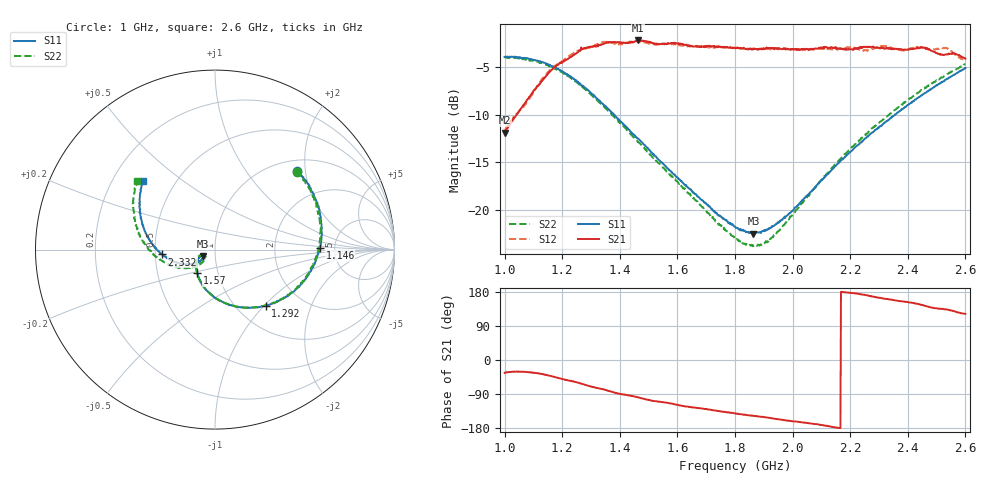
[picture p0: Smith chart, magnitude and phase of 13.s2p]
!EI41,AV3629A,1.0.34
!Calibration ON (Full Solt 2-Port(Omit Isolation))
!Measurements: S11 S21 S12 S22
!Friday, August 03, 2012  13 : 41
#Hz  S  MA  R 50.000
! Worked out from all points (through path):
!   801 points, 1 GHz to 2.6 GHz, reference 50 ohm
!   highest |S21| = -2.23 dB at 1.464 GHz (marker M1); lowest = -11.9 dB at 1 GHz (marker M2)
!   lowest |S11| = -22.5 dB at 1.864 GHz (marker M3), VSWR 1.16, Z = 43.7 - j3.06 ohm
!   |S11| at or under -10 dB: 1.379 GHz to 2.356 GHz (976.6 MHz wide, 52.3 % of centre)
!   |S22| runs from -23.8 to -4.0 dB; largest |S21 - S12| = 0.062
!   S11 on the Smith chart (normalised r, x): 1 GHz: 1.22, +1.80; 1.146 GHz: 3.81, +0.11; 1.292 GHz: 1.34, -1.02; 1.57 GHz: 0.80, -0.21; 2.332 GHz: 0.54, -0.03; 2.6 GHz: 0.33, +0.36
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1e9  0.6343 43.9  0.2543 -34.0  0.2618 -32.4  0.6287 43.7
1.078e9  0.6246 22.1  0.3772 -32.0  0.37 -31.4  0.6203 22.0
1.146e9  0.5841 0.9  0.506 -40.0  0.5163 -38.9  0.5745 0.5
1.208e9  0.5234 -19.8  0.6031 -51.5  0.6164 -51.4  0.5214 -21.2
1.268e9  0.4488 -39.9  0.6956 -62.8  0.6945 -63.9  0.4448 -41.5
1.292e9  0.4214 -48.0  0.7135 -68.4  0.7087 -68.3  0.4135 -49.5
1.352e9  0.3476 -67.1  0.7502 -79.0  0.7622 -81.4  0.339 -69.1
1.464e9  0.2357 -100.1  0.7736 -98.7  0.766 -99.6  0.2268 -103.1
1.534e9  0.1834 -118.5  0.7399 -109.9  0.7362 -109.1  0.1761 -122.1
1.57e9  0.1622 -127.4  0.7445 -113.7  0.7451 -114.2  0.1547 -131.3
1.624e9  0.1359 -139.0  0.7357 -121.8  0.7284 -121.2  0.1289 -143.0
1.8e9  0.08153 -156.6  0.7044 -140.6  0.708 -140.8  0.07166 -158.3
1.864e9  0.07521 -152.4  0.698 -147.7  0.6972 -147.1  0.06467 -151.1
1.93e9  0.08168 -145.6  0.704 -154.3  0.6939 -153.8  0.072 -140.4
2.068e9  0.1264 -144.2  0.6956 -168.1  0.6941 -167.8  0.1262 -136.9
2.194e9  0.1973 -156.4  0.6927 177.8  0.7107 178.3  0.2051 -149.8
2.256e9  0.2396 -163.8  0.7156 170.9  0.6894 171.4  0.2506 -158.3
2.332e9  0.2964 -174.8  0.6997 160.7  0.7191 161.1  0.3138 -169.9
2.334e9  0.2969 -175.3  0.7001 160.4  0.7172 160.5  0.3142 -170.6
2.44e9  0.3914 167.5  0.7046 147.1  0.707 147.8  0.4149 170.9
2.54e9  0.4889 148.9  0.6537 132.5  0.6995 131.1  0.5169 151.8
2.6e9  0.5545 136.6  0.6212 121.8  0.6236 124.5  0.5773 138.6
